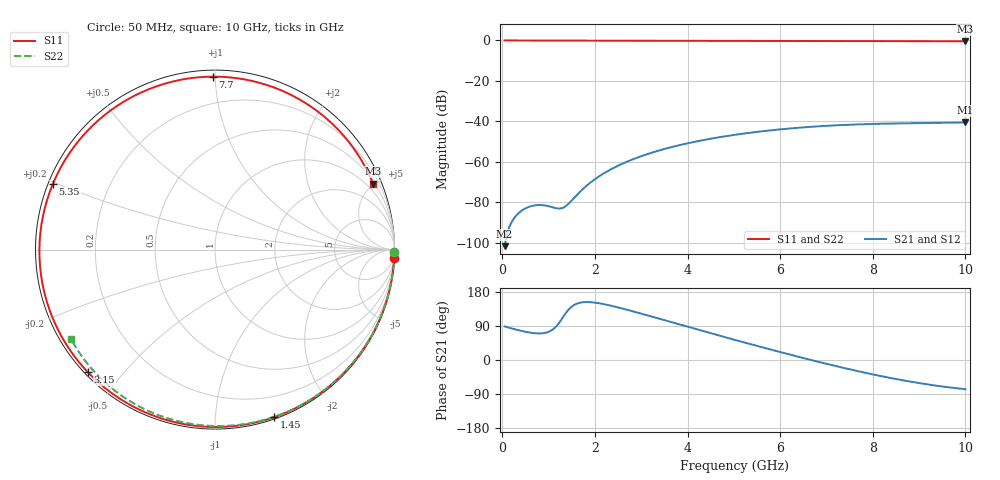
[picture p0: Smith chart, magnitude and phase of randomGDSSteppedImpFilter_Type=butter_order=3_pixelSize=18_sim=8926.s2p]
! freq	dB(S11)	phase(S11)	dB(S12)	phase(S12)
!  dB(S21)	phase(S21)	dB(S22)	phase(S22)
!S-par simulation data
#  GHz  S  DB  R 50
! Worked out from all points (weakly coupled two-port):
!   200 points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, 50 MHz to 10 GHz, reference 50 ohm
!   highest |S21| = -40.49 dB at 10 GHz (marker M1); lowest = -101.6 dB at 50 MHz (marker M2)
!   lowest |S11| = -0.4 dB at 10 GHz (marker M3), VSWR 42.15, Z = 30.2 + j246 ohm
!   |S11| at or under -10 dB: nowhere
!   |S22| runs from -0.5 to 0.0 dB; largest |S21 - S12| = 0
!   S11 on the Smith chart (normalised r, x): 50 MHz: 0, -44; 1.45 GHz: 0.01, -1.41; 3.15 GHz: 0.01, -0.40; 5.35 GHz: 0.01, +0.20; 7.7 GHz: 0.04, +0.99; 10 GHz: 0.60, +4.91
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0.05  -0.00 -2.6  -101.59 88.6  -101.59 88.6  -0.00 -0.9
0.35  -0.02 -17.9  -85.32 78.6  -85.32 78.6  -0.01 -6.0
0.65  -0.04 -33.0  -81.67 71.4  -81.67 71.4  -0.01 -11.1
1.05  -0.07 -52.3  -82.15 77.3  -82.15 77.3  -0.02 -17.8
1.45  -0.08 -70.6  -80.18 135.4  -80.18 135.4  -0.03 -24.5
1.75  -0.10 -83.6  -73.16 152.5  -73.16 152.5  -0.04 -29.5
2.05  -0.10 -95.9  -67.72 150.6  -67.72 150.6  -0.04 -34.4
2.35  -0.11 -107.6  -63.59 143.3  -63.59 143.3  -0.05 -39.3
2.7  -0.13 -120.4  -59.80 132.4  -59.80 132.4  -0.06 -45.0
3.15  -0.14 -136.0  -55.99 117.3  -55.99 117.3  -0.07 -52.1
3.4  -0.15 -144.2  -54.24 108.6  -54.24 108.6  -0.07 -56.0
3.8  -0.16 -156.8  -51.84 94.7  -51.84 94.7  -0.08 -62.2
4.2  -0.18 -168.9  -49.83 80.9  -49.83 80.9  -0.10 -68.3
5.05  -0.21 166.4  -46.51 52.1  -46.51 52.1  -0.12 -80.9
5.35  -0.22 157.9  -45.58 42.1  -45.58 42.1  -0.14 -85.3
6  -0.25 139.5  -43.91 21.0  -43.91 21.0  -0.17 -94.5
6.7  -0.28 119.7  -42.59 -1.0  -42.59 -1.0  -0.20 -104.2
7.2  -0.30 105.3  -41.92 -15.9  -41.92 -15.9  -0.24 -111.1
7.7  -0.32 90.8  -41.44 -30.0  -41.44 -30.0  -0.27 -117.8
8.35  -0.34 71.6  -41.06 -46.7  -41.06 -46.7  -0.33 -126.4
9.25  -0.37 44.8  -40.75 -65.7  -40.75 -65.7  -0.42 -138.3
10  -0.41 22.7  -40.49 -77.0  -40.49 -77.0  -0.50 -148.3
